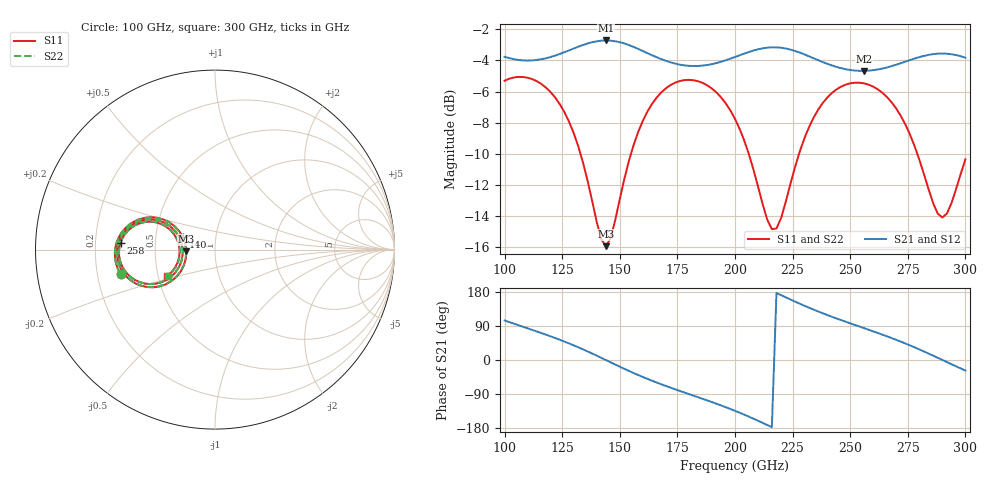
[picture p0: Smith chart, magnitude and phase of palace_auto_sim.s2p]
#  GHZ S DB R 50
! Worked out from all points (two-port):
!   101 points, 100 GHz to 300 GHz, reference 50 ohm
!   highest |S21| = -2.71 dB at 144 GHz (marker M1); lowest = -4.7 dB at 256 GHz (marker M2)
!   |S21| within 3 dB of the highest: start of sweep to end of sweep
!   lowest |S11| = -15.9 dB at 144 GHz (marker M3), VSWR 1.38, Z = 36.2 - j0.649 ohm
!   |S11| at or under -10 dB: 132.9 GHz to 154.9 GHz (21.94 GHz wide, 15.2 % of centre); 206 GHz to 227.8 GHz (21.84 GHz wide, 10.1 % of centre); 279.1 GHz to end of sweep
!   |S22| runs from -15.9 to -5.1 dB; largest |S21 - S12| = 1.1e-13
!   S11 on the Smith chart (normalised r, x): 100 GHz: 0.30, -0.12; 140 GHz: 0.69, +0.10; 258 GHz: 0.31, +0.03; 300 GHz: 0.56, -0.18
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100  -5.30 -165.4  -3.76 104.4  -3.76 104.4  -5.30 -165.4
116  -5.52 169.9  -3.92 71.0  -3.92 71.0  -5.51 170.0
126  -7.33 155.7  -3.47 48.5  -3.47 48.5  -7.33 155.8
134  -10.55 149.1  -3.01 28.1  -3.01 28.1  -10.53 149.3
140  -14.39 159.1  -2.77 11.4  -2.77 11.4  -14.33 159.3
144  -15.94 -176.9  -2.71 -0.2  -2.71 -0.2  -15.86 -176.9
156  -9.43 -144.9  -3.13 -34.4  -3.13 -34.4  -9.41 -145.1
168  -6.05 -159.6  -3.91 -64.0  -3.91 -64.0  -6.05 -159.7
184  -5.34 177.0  -4.35 -98.3  -4.35 -98.3  -5.33 176.9
200  -7.76 155.8  -3.77 -134.1  -3.77 -134.1  -7.76 155.7
210  -12.10 154.7  -3.28 -160.3  -3.28 -160.3  -12.10 154.6
216  -14.84 177.0  -3.15 -177.3  -3.15 -177.3  -14.84 176.9
220  -14.13 -161.5  -3.18 171.2  -3.18 171.2  -14.13 -161.6
224  -11.96 -150.2  -3.30 159.8  -3.30 159.8  -11.97 -150.3
234  -7.71 -152.2  -3.85 133.2  -3.85 133.2  -7.71 -152.3
246  -5.68 -167.7  -4.49 105.4  -4.49 105.4  -5.69 -167.8
256  -5.47 178.5  -4.67 84.1  -4.67 84.1  -5.48 178.4
258  -5.55 175.8  -4.65 79.9  -4.65 79.9  -5.56 175.6
268  -6.69 162.8  -4.36 57.8  -4.36 57.8  -6.70 162.6
278  -9.53 154.6  -3.87 33.3  -3.87 33.3  -9.56 154.3
290  -14.09 -178.1  -3.55 0.2  -3.55 0.2  -14.20 -178.0
300  -10.36 -151.3  -3.82 -27.8  -3.82 -27.8  -10.40 -150.9
